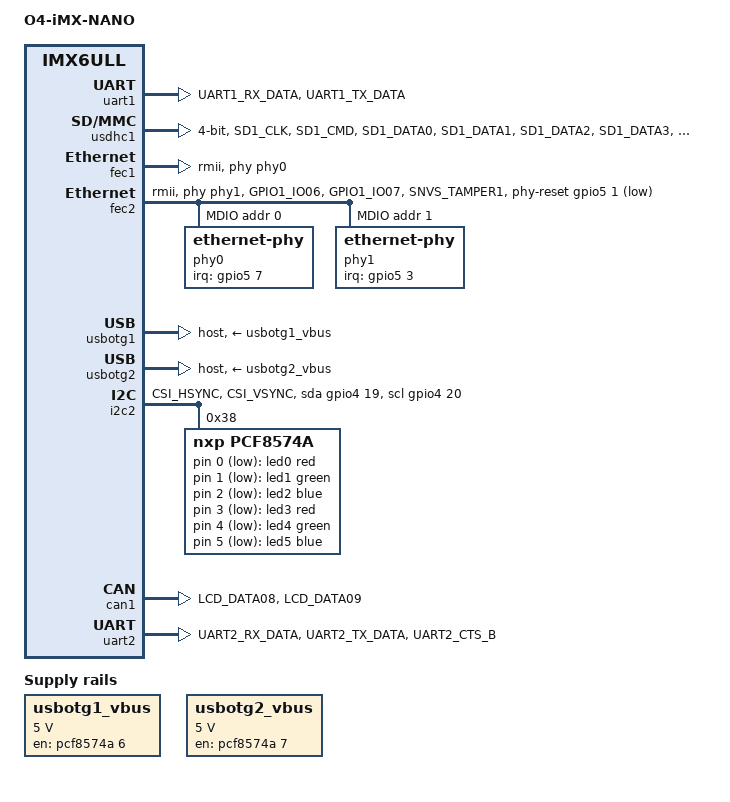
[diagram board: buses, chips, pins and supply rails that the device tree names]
// SPDX-License-Identifier: GPL-2.0+
// Copyright (C) 2021 Oleh Kravchenko <oleg@kaa.org.ua>

/dts-v1/;

#include <dt-bindings/leds/common.h>

#include "o4-imx6ull-nano.dtsi"

/ {
	model = "O4-iMX-NANO";
	compatible = "out4,o4-imx-nano",
		     "out4,o4-imx6ull-nano",
		     "fsl,imx6ull";

	aliases {
		mmc1 = &usdhc1;
	};

	chosen {
		stdout-path = &uart1;
	};

	leds {
		compatible = "gpio-leds";

		led0 {
			color = <LED_COLOR_ID_RED>;
			gpios = <&pcf8574a 0 GPIO_ACTIVE_LOW>;
		};

		led1{
			color = <LED_COLOR_ID_GREEN>;
			gpios = <&pcf8574a 1 GPIO_ACTIVE_LOW>;
		};

		led2 {
			gpios = <&pcf8574a 2 GPIO_ACTIVE_LOW>;
			color = <LED_COLOR_ID_BLUE>;
		};

		led3 {
			color = <LED_COLOR_ID_RED>;
			gpios = <&pcf8574a 3 GPIO_ACTIVE_LOW>;
		};

		led4{
			color = <LED_COLOR_ID_GREEN>;
			gpios = <&pcf8574a 4 GPIO_ACTIVE_LOW>;
		};

		led5 {
			color = <LED_COLOR_ID_BLUE>;
			gpios = <&pcf8574a 5 GPIO_ACTIVE_LOW>;
		};
	};

	usbotg1_vbus: reg_usbotg1_vbus {
		compatible = "regulator-fixed";
		enable-active-high;
		gpio = <&pcf8574a 6 GPIO_ACTIVE_HIGH>;
		regulator-max-microvolt = <5000000>;
		regulator-min-microvolt = <5000000>;
		regulator-name = "usb0";
	};

	usbotg2_vbus: reg_usbotg2_vbus {
		compatible = "regulator-fixed";
		enable-active-high;
		gpio = <&pcf8574a 7 GPIO_ACTIVE_HIGH>;
		regulator-max-microvolt = <5000000>;
		regulator-min-microvolt = <5000000>;
		regulator-name = "usb1";
	};
};

&iomuxc {
	pinctrl_uart1: uart1grp {
		fsl,pins = <
			MX6UL_PAD_UART1_RX_DATA__UART1_DCE_RX	0x1b0b1
			MX6UL_PAD_UART1_TX_DATA__UART1_DCE_TX	0x1b0b1
		>;
	};

	pinctrl_usdhc1: usdhc1grp {
		fsl,pins = <
			MX6UL_PAD_SD1_CLK__USDHC1_CLK		0x10069
			MX6UL_PAD_SD1_CMD__USDHC1_CMD		0x17059
			MX6UL_PAD_SD1_DATA0__USDHC1_DATA0	0x17059
			MX6UL_PAD_SD1_DATA1__USDHC1_DATA1	0x17059
			MX6UL_PAD_SD1_DATA2__USDHC1_DATA2	0x17059
			MX6UL_PAD_SD1_DATA3__USDHC1_DATA3	0x17059
			MX6UL_PAD_UART1_RTS_B__USDHC1_CD_B	0x03029
		>;
	};

	pinctrl_mdio: mdiogrp {
		fsl,pins = <
			MX6UL_PAD_GPIO1_IO06__ENET2_MDIO	0x1b0b0
			MX6UL_PAD_GPIO1_IO07__ENET2_MDC		0x1b0b0
			MX6UL_PAD_SNVS_TAMPER1__GPIO5_IO01	0xb0b0 /* RST */
		>;
	};

	pinctrl_i2c2: i2c2grp {
		fsl,pins = <
			MX6UL_PAD_CSI_HSYNC__I2C2_SCL	0x4001b8b0
			MX6UL_PAD_CSI_VSYNC__I2C2_SDA	0x4001b8b0
		>;
	};

	pinctrl_i2c2_gpio: i2c2gpiogrp {
		fsl,pins = <
			MX6UL_PAD_CSI_HSYNC__GPIO4_IO20	0x1b8b0
			MX6UL_PAD_CSI_VSYNC__GPIO4_IO19	0x1b8b0
		>;
	};

	pinctrl_can1: can1grp {
		fsl,pins = <
			MX6UL_PAD_LCD_DATA08__FLEXCAN1_TX	0x1b020
			MX6UL_PAD_LCD_DATA09__FLEXCAN1_RX	0x1b020
		>;
	};

	pinctrl_uart2: uart2grp {
		fsl,pins = <
			MX6UL_PAD_UART2_RX_DATA__UART2_DCE_RX	0x1b0b1
			MX6UL_PAD_UART2_TX_DATA__UART2_DCE_TX	0x1b0b1
			MX6UL_PAD_UART2_CTS_B__UART2_DCE_CTS	0x1b0b1
		>;
	};
};

&uart1 {
	pinctrl-0 = <&pinctrl_uart1>;
	pinctrl-names = "default";
	status = "okay";
};

&usdhc1 {
	bus-width = <4>;
	no-1-8-v;
	pinctrl-0 = <&pinctrl_usdhc1>;
	pinctrl-names = "default";
	status = "okay";
	wakeup-source;
};

&fec1 {
	phy-handle = <&phy0>;
	phy-mode = "rmii";
	pinctrl-0 = <&pinctrl_fec1>;
	pinctrl-names = "default";
	status = "okay";
};

&fec2 {
	phy-handle = <&phy1>;
	phy-mode = "rmii";
	phy-reset-duration = <250>;
	phy-reset-post-delay = <100>;
	phy-reset-gpios = <&gpio5 1 GPIO_ACTIVE_LOW>;
	pinctrl-0 = <&pinctrl_fec2 &pinctrl_mdio>;
	pinctrl-names = "default";
	status = "okay";

	mdio {
		#address-cells = <1>;
		#size-cells = <0>;

		phy0: ethernet-phy@0 {
			clocks = <&clks IMX6UL_CLK_ENET_REF>;
			clock-names = "rmii-ref";
			interrupt-parent = <&gpio5>;
			interrupts = <7 IRQ_TYPE_EDGE_FALLING>;
			pinctrl-0 = <&pinctrl_phy0_irq>;
			pinctrl-names = "default";
			reg = <0>;
		};

		phy1: ethernet-phy@1 {
			clocks = <&clks IMX6UL_CLK_ENET2_REF>;
			clock-names = "rmii-ref";
			interrupt-parent = <&gpio5>;
			interrupts = <3 IRQ_TYPE_EDGE_FALLING>;
			pinctrl-0 = <&pinctrl_phy1_irq>;
			pinctrl-names = "default";
			reg = <1>;
		};
	};
};

&usbotg1 {
	dr_mode = "host";
	status = "okay";
	vbus-supply = <&usbotg1_vbus>;
};

&usbotg2 {
	dr_mode = "host";
	status = "okay";
	vbus-supply = <&usbotg2_vbus>;
};

&i2c2 {
	clock_frequency = <100000>;
	pinctrl-0 = <&pinctrl_i2c2>;
	pinctrl-1 = <&pinctrl_i2c2_gpio>;
	pinctrl-names = "default", "gpio";
	scl-gpios = <&gpio4 20 (GPIO_ACTIVE_HIGH | GPIO_OPEN_DRAIN)>;
	sda-gpios = <&gpio4 19 (GPIO_ACTIVE_HIGH | GPIO_OPEN_DRAIN)>;
	status = "okay";

	pcf8574a: gpio@38 {
		compatible = "nxp,pcf8574a";
		#gpio-cells = <2>;
		gpio-controller;
		reg = <0x38>;
	};
};

&can1 {
	pinctrl-names = "default";
	pinctrl-0 = <&pinctrl_can1>;
	status = "okay";
};

&uart2 {
	linux,rs485-enabled-at-boot-time;
	pinctrl-0 = <&pinctrl_uart2>;
	pinctrl-names = "default";
	status = "okay";
	uart-has-rtscts;
};
